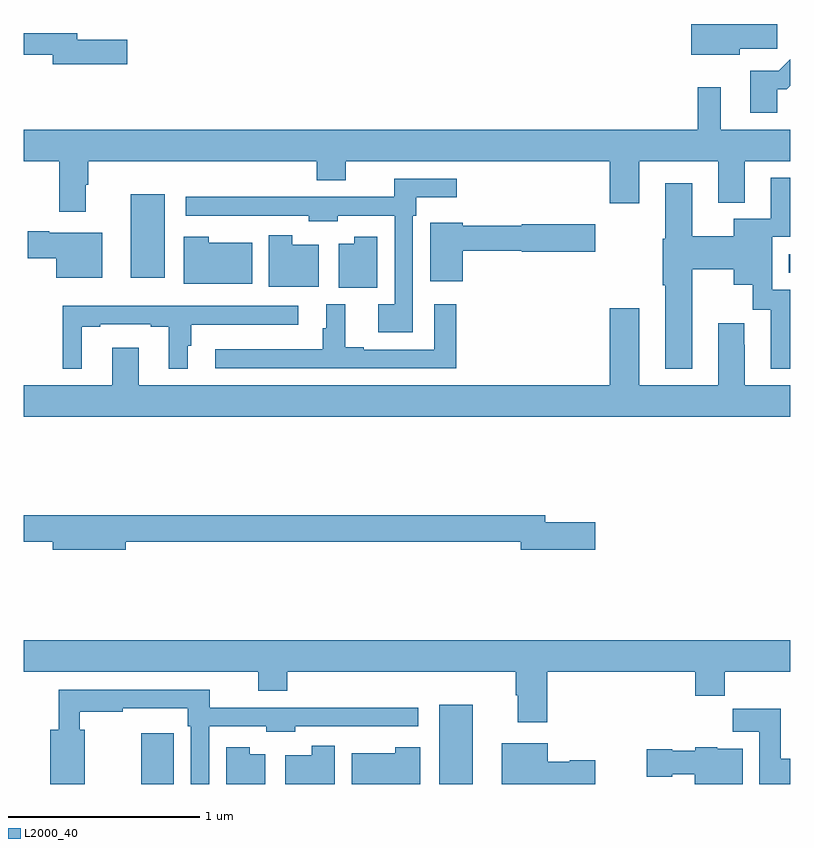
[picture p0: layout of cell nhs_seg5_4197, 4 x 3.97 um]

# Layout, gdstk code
import gdstk
lib = gdstk.Library(unit=1e-6, precision=1e-09)
def R(c, l, rs):  # rectangles x0, y0, x1, y1
    for r in rs: c.add(gdstk.rectangle(r[:2], r[2:], *l))
def P(c, l, *ps):  # polygons
    for p in ps: c.add(gdstk.Polygon(p, *l))
L2000_40 = (2000, 40)

nhs_seg5_4197 = lib.new_cell('nhs_seg5_4197')
R(nhs_seg5_4197, L2000_40, [(359.168,898.799,359.344,899.212), (357.56,901.439,357.736,901.876), (360.992,901.467,361,901.563)])
P(nhs_seg5_4197, L2000_40, [(360.736,902.635),(360.931,902.635),(360.931,902.764),(360.482,902.764),(360.482,902.603),(360.736,902.603)],
  [(357.541,902.683),(357.28,902.683),(357.28,902.715),(357,902.715),(357,902.604),(357.152,902.604),(357.152,902.554),(357.541,902.554)],
  [(360.931,902.423),(360.98,902.423),(361,902.443),(361,902.581),(360.94,902.521),(360.791,902.521),(360.791,902.301),(360.931,902.301)],
  [(360.623,901.832),(360.763,901.832),(360.763,902.048),(361,902.048),(361,902.212),(360.637,902.212),(360.637,902.434),(360.516,902.434),(360.516,902.212),(357,902.212),(357,902.048),(357.185,902.048),(357.185,901.785),(357.325,901.785),(357.325,901.925),(357.338,901.925),(357.338,902.048),(358.529,902.048),(358.529,901.949),(358.681,901.949),(358.681,902.048),(360.059,902.048),(360.059,901.83),(360.211,901.83),(360.211,902.048),(360.623,902.048)],
  [(360.487,901.484),(360.704,901.484),(360.704,901.403),(360.803,901.403),(360.803,901.272),(360.899,901.272),(360.899,900.966),(361,900.966),(361,901.377),(360.906,901.377),(360.906,901.653),(361,901.653),(361,901.963),(360.899,901.963),(360.899,901.747),(360.704,901.747),(360.704,901.656),(360.487,901.656),(360.487,901.933),(360.347,901.933),(360.347,901.644),(360.335,901.644),(360.335,901.4),(360.347,901.4),(360.347,900.965),(360.487,900.965)],
  [(359.031,901.763),(359.048,901.763),(359.048,901.859),(359.26,901.859),(359.26,901.956),(358.933,901.956),(358.933,901.862),(357.846,901.862),(357.846,901.763),(358.184,901.763),(358.184,901.764),(358.488,901.764),(358.488,901.736),(358.638,901.736),(358.638,901.764),(358.935,901.764),(358.935,901.303),(358.851,901.303),(358.851,901.157),(359.031,901.157)],
  [(359.29,901.582),(359.598,901.582),(359.598,901.577),(359.983,901.577),(359.983,901.719),(359.598,901.719),(359.598,901.711),(359.29,901.711),(359.29,901.728),(359.121,901.728),(359.121,901.625),(359.12,901.625),(359.12,901.421),(359.29,901.421)],
  [(357.409,901.675),(357.133,901.675),(357.133,901.683),(357.021,901.683),(357.021,901.541),(357.17,901.541),(357.17,901.439),(357.409,901.439)],
  [(358.54,901.612),(358.402,901.612),(358.402,901.663),(358.28,901.663),(358.28,901.394),(358.54,901.394)],
  [(358.192,901.624),(357.966,901.624),(357.966,901.654),(357.836,901.654),(357.836,901.409),(358.192,901.409)],
  [(358.846,901.654),(358.724,901.654),(358.724,901.618),(358.643,901.618),(358.643,901.388),(358.846,901.388)],
  [(359.258,901.303),(359.142,901.303),(359.142,901.065),(358.774,901.065),(358.774,901.078),(358.678,901.078),(358.678,901.303),(358.58,901.303),(358.58,901.176),(358.561,901.176),(358.561,901.066),(357.999,901.066),(357.999,900.969),(359.258,900.969)],
  [(357.304,901.185),(357.4,901.185),(357.4,901.197),(357.662,901.197),(357.662,901.185),(357.758,901.185),(357.758,900.965),(357.856,900.965),(357.856,901.086),(357.875,901.086),(357.875,901.196),(358.432,901.196),(358.432,901.293),(357.732,901.293),(357.732,901.294),(357.205,901.294),(357.205,900.965),(357.304,900.965)],
  [(361,900.88),(360.763,900.88),(360.763,901.091),(360.76,901.091),(360.76,901.204),(360.623,901.204),(360.623,900.88),(360.211,900.88),(360.211,901.282),(360.059,901.282),(360.059,900.88),(357.601,900.88),(357.601,901.075),(357.461,901.075),(357.461,900.88),(357,900.88),(357,900.716),(361,900.716)],
  [(357.532,900.064),(359.594,900.064),(359.594,900.022),(359.983,900.022),(359.983,900.164),(359.722,900.164),(359.722,900.2),(357,900.2),(357,900.064),(357.152,900.064),(357.152,900.022),(357.532,900.022)],
  [(357,899.384),(358.223,899.384),(358.223,899.285),(358.376,899.285),(358.376,899.384),(359.567,899.384),(359.567,899.261),(359.579,899.261),(359.579,899.121),(359.732,899.121),(359.732,899.384),(360.503,899.384),(360.503,899.26),(360.659,899.26),(360.659,899.384),(361,899.384),(361,899.548),(357,899.548)],
  [(357.318,899.083),(357.292,899.083),(357.292,899.176),(357.518,899.176),(357.518,899.195),(357.857,899.195),(357.857,899.099),(357.873,899.099),(357.873,898.799),(357.969,898.799),(357.969,899.1),(358.266,899.1),(358.266,899.072),(358.416,899.072),(358.416,899.1),(358.72,899.1),(358.72,899.099),(359.059,899.099),(359.059,899.198),(357.972,899.198),(357.972,899.292),(357.182,899.292),(357.182,899.083),(357.14,899.083),(357.14,898.799),(357.318,898.799)],
  [(361,898.932),(360.949,898.932),(360.949,899.191),(360.7,899.191),(360.7,899.072),(360.839,899.072),(360.839,898.799),(361,898.799)],
  [(357.784,898.961),(357.783,898.961),(357.783,899.064),(357.614,899.064),(357.614,898.799),(357.784,898.799)],
  [(359.983,898.923),(359.85,898.923),(359.85,898.915),(359.734,898.915),(359.734,899.011),(359.495,899.011),(359.495,898.799),(359.983,898.799)],
  [(358.624,898.999),(358.502,898.999),(358.502,898.948),(358.364,898.948),(358.364,898.799),(358.624,898.799)],
  [(360.751,898.984),(360.618,898.984),(360.618,898.99),(360.504,898.99),(360.504,898.972),(360.384,898.972),(360.384,898.98),(360.252,898.98),(360.252,898.838),(360.384,898.838),(360.384,898.85),(360.5,898.85),(360.5,898.799),(360.751,898.799)],
  [(358.261,898.954),(358.18,898.954),(358.18,898.99),(358.058,898.99),(358.058,898.799),(358.261,898.799)],
  [(359.068,898.99),(358.939,898.99),(358.939,898.96),(358.712,898.96),(358.712,898.799),(359.068,898.799)])

lib.write_gds('nhs_seg5_4197.gds')
